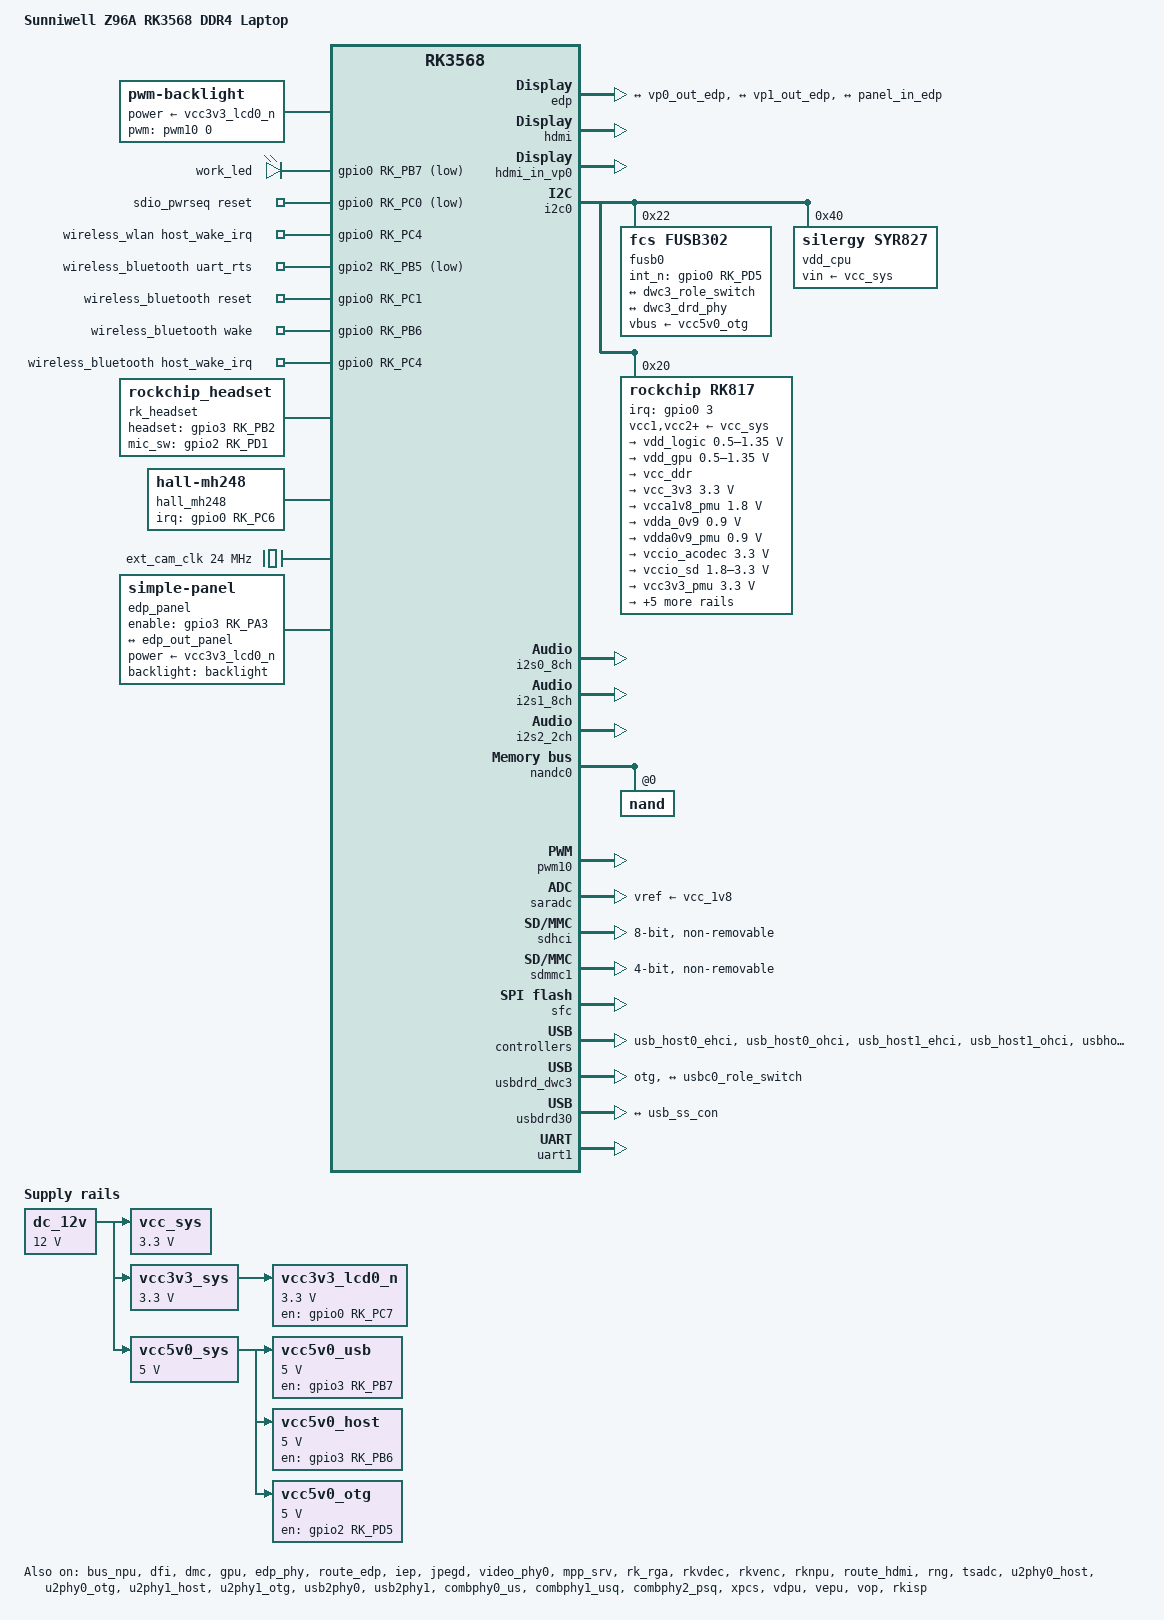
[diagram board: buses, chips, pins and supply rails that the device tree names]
// SPDX-License-Identifier: (GPL-2.0+ OR MIT)
/*
 * Copyright (c) 2024 Rockchip Electronics Co., Ltd.
 *
 */

/dts-v1/;

#include <dt-bindings/gpio/gpio.h>
#include <dt-bindings/pwm/pwm.h>
#include <dt-bindings/pinctrl/rockchip.h>
#include <dt-bindings/input/rk-input.h>
#include <dt-bindings/display/media-bus-format.h>
#include <dt-bindings/display/rockchip_vop.h>
#include <dt-bindings/sensor-dev.h>
#include <dt-bindings/usb/pd.h>
#include "rk3568.dtsi"
//#include "rk3568-linux.dtsi"

/ {
	model = "Sunniwell Z96A RK3568 DDR4 Laptop";
	compatible = "rockchip,rk3568";

	aliases {
		mmc0 = &sdhci;
		mmc1 = &sdmmc0;
		mmc2 = &sdmmc1;
		mmc3 = &sdmmc2;
	};

	fiq-debugger {
		compatible = "rockchip,fiq-debugger";
		rockchip,serial-id = <2>;
		rockchip,wake-irq = <0>;
		/* If enable uart uses irq instead of fiq */
		rockchip,irq-mode-enable = <1>;
		rockchip,baudrate = <1500000>;  /* Only 115200 and 1500000 */
		interrupts = <GIC_SPI 252 IRQ_TYPE_LEVEL_LOW>;
		pinctrl-names = "default";
		pinctrl-0 = <&uart2m0_xfer>;
		status = "okay";
	};
	
	/*from rk3568-linux.dtsi*/
	debug: debug@fd904000 {
		compatible = "rockchip,debug";
		reg = <0x0 0xfd904000 0x0 0x1000>,
			<0x0 0xfd905000 0x0 0x1000>,
			<0x0 0xfd906000 0x0 0x1000>,
			<0x0 0xfd907000 0x0 0x1000>;
	};

	/*from rk3568-linux.dtsi*/
	cspmu: cspmu@fd90c000 {
		compatible = "rockchip,cspmu";
		reg = <0x0 0xfd90c000 0x0 0x1000>,
			<0x0 0xfd90d000 0x0 0x1000>,
			<0x0 0xfd90e000 0x0 0x1000>,
			<0x0 0xfd90f000 0x0 0x1000>;
	};

	audiopwmout_diff: audiopwmout-diff {
		status = "disabled";
		compatible = "simple-audio-card";
		simple-audio-card,format = "i2s";
		simple-audio-card,name = "rockchip,audiopwmout-diff";
		simple-audio-card,mclk-fs = <256>;
		simple-audio-card,bitclock-master = <&master>;
		simple-audio-card,frame-master = <&master>;
		simple-audio-card,cpu {
			sound-dai = <&i2s3_2ch>;
		};
		master: simple-audio-card,codec {
			sound-dai = <&dig_acodec>;
		};
	};

	backlight: backlight {
		compatible = "pwm-backlight";
		pwms = <&pwm10 0 25000 0>;
		brightness-levels = <
			  0  20  20  21  21  22  22  23
			 23  24  24  25  25  26  26  27
			 27  28  28  29  29  30  30  31
			 31  32  32  33  33  34  34  35
			 35  36  36  37  37  38  38  39
			 40  41  42  43  44  45  46  47
			 48  49  50  51  52  53  54  55
			 56  57  58  59  60  61  62  63
			 64  65  66  67  68  69  70  71
			 72  73  74  75  76  77  78  79
			 80  81  82  83  84  85  86  87
			 88  89  90  91  92  93  94  95
			 96  97  98  99 100 101 102 103
			104 105 106 107 108 109 110 111
			112 113 114 115 116 117 118 119
			120 121 122 123 124 125 126 127
			128 129 130 131 132 133 134 135
			136 137 138 139 140 141 142 143
			144 145 146 147 148 149 150 151
			152 153 154 155 156 157 158 159
			160 161 162 163 164 165 166 167
			168 169 170 171 172 173 174 175
			176 177 178 179 180 181 182 183
			184 185 186 187 188 189 190 191
			192 193 194 195 196 197 198 199
			200 201 202 203 204 205 206 207
			208 209 210 211 212 213 214 215
			216 217 218 219 220 221 222 223
			224 225 226 227 228 229 230 231
			232 233 234 235 236 237 238 239
			240 241 242 243 244 245 246 247
			248 249 250 251 252 253 254 255
		>;
		default-brightness-level = <200>;
		power-supply = <&vcc3v3_lcd0_n>;
	};

	charge-animation {
		compatible = "rockchip,uboot-charge";
		rockchip,uboot-charge-on = <1>;
		rockchip,android-charge-on = <0>;
		rockchip,uboot-low-power-voltage = <3350>;
		rockchip,screen-on-voltage = <3400>;
		status = "disabled";
	};

	bt_sco: bt-sco {
		status = "okay";
		compatible = "delta,dfbmcs320";
		#sound-dai-cells = <0>;
	};

	bt_sound: bt-sound {
		status = "okay";
		compatible = "simple-audio-card";
		simple-audio-card,format = "dsp_b";
		simple-audio-card,bitclock-inversion = <1>;
		simple-audio-card,mclk-fs = <256>;
		simple-audio-card,name = "rockchip,bt";
		simple-audio-card,bitclock-master = <&bt_sound>;
		simple-audio-card,frame-master = <&bt_sound>;
		simple-audio-card,cpu {
			sound-dai = <&i2s2_2ch>;
		};
		simple-audio-card,codec {
			sound-dai = <&bt_sco>;
		};
	};

	dc_12v: dc-12v {
		compatible = "regulator-fixed";
		regulator-name = "dc_12v";
		regulator-always-on;
		regulator-boot-on;
		regulator-min-microvolt = <12000000>;
		regulator-max-microvolt = <12000000>;
	};

	vcc_sys: vcc-sys {
		compatible = "regulator-fixed";
		regulator-name = "vcc_sys";
		regulator-always-on;
		regulator-boot-on;
		regulator-min-microvolt = <3300000>;
		regulator-max-microvolt = <3300000>;
		vin-supply = <&dc_12v>;
	};

	hdmi_sound: hdmi-sound {
		compatible = "simple-audio-card";
		simple-audio-card,format = "i2s";
		simple-audio-card,mclk-fs = <128>;
		simple-audio-card,name = "rockchip,hdmi";
		status = "okay";

		simple-audio-card,cpu {
				sound-dai = <&i2s0_8ch>;
		};
		simple-audio-card,codec {
				sound-dai = <&hdmi>;
		};
	};

	leds: leds {
		compatible = "gpio-leds";
		work_led: work {
			gpios = <&gpio0 RK_PB7 GPIO_ACTIVE_LOW>;
		};
	};

	pdmics: dummy-codec {
		status = "disabled";
		compatible = "rockchip,dummy-codec";
		#sound-dai-cells = <0>;
	};

	pdm_mic_array: pdm-mic-array {
		status = "disabled";
		compatible = "simple-audio-card";
		simple-audio-card,name = "rockchip,pdm-mic-array";
		simple-audio-card,cpu {
			sound-dai = <&pdm>;
		};
		simple-audio-card,codec {
			sound-dai = <&pdmics>;
		};
	};

	rk817-sound {
		status = "okay";
		compatible = "simple-audio-card";
		simple-audio-card,format = "i2s";
		simple-audio-card,name = "rockchip,rk817-codec";
		simple-audio-card,mclk-fs = <256>;

		simple-audio-card,cpu {
			sound-dai = <&i2s1_8ch>;
		};
		simple-audio-card,codec {
			sound-dai = <&rk817_codec 1>;
		};
	};

	vcc3v3_sys: vcc3v3-sys {
		compatible = "regulator-fixed";
		regulator-name = "vcc3v3_sys";
		regulator-always-on;
		regulator-boot-on;
		regulator-min-microvolt = <3300000>;
		regulator-max-microvolt = <3300000>;
		vin-supply = <&dc_12v>;
	};

	vcc5v0_sys: vcc5v0-sys {
		compatible = "regulator-fixed";
		regulator-name = "vcc5v0_sys";
		regulator-always-on;
		regulator-boot-on;
		regulator-min-microvolt = <5000000>;
		regulator-max-microvolt = <5000000>;
		vin-supply = <&dc_12v>;
	};

	vcc5v0_usb: vcc5v0-usb {
		compatible = "regulator-fixed";
		regulator-name = "vcc5v0_usb";
		regulator-always-on;
		regulator-boot-on;
		regulator-min-microvolt = <5000000>;
		regulator-max-microvolt = <5000000>;
		enable-active-high;
		gpio = <&gpio3 RK_PB7 GPIO_ACTIVE_HIGH>;
		vin-supply = <&vcc5v0_sys>;
		pinctrl-names = "default";
		pinctrl-0 = <&vcc5v0_otg_pwr_en>;
	};

	vcc5v0_host: vcc5v0-host-regulator {
		compatible = "regulator-fixed";
		regulator-name = "vcc5v0_host";
		regulator-boot-on;
		regulator-always-on;
		regulator-min-microvolt = <5000000>;
		regulator-max-microvolt = <5000000>;
		enable-active-high;
		gpio = <&gpio3 RK_PB6 GPIO_ACTIVE_HIGH>;
		vin-supply = <&vcc5v0_sys>;
		pinctrl-names = "default";
		pinctrl-0 = <&vcc5v0_host_en>;
	};

	vcc5v0_otg: vcc5v0-otg-regulator {
		compatible = "regulator-fixed";
		regulator-name = "vcc5v0_otg";
		regulator-min-microvolt = <5000000>;
		regulator-max-microvolt = <5000000>;
		enable-active-high;
		gpio = <&gpio2 RK_PD5 GPIO_ACTIVE_HIGH>;
		vin-supply = <&vcc5v0_sys>;
		pinctrl-names = "default";
		pinctrl-0 = <&vcc5v0_otg_en>;
	};

	vcc3v3_lcd0_n: vcc3v3-lcd0-n {
		compatible = "regulator-fixed";
		regulator-name = "vcc3v3_lcd0_n";
		regulator-boot-on;
		regulator-min-microvolt = <3300000>;
		regulator-max-microvolt = <3300000>;
		enable-active-high;
		gpio = <&gpio0 RK_PC7 GPIO_ACTIVE_HIGH>;
		vin-supply = <&vcc3v3_sys>;

		regulator-state-mem {
			regulator-off-in-suspend;
		};
	};

	sdio_pwrseq: sdio-pwrseq {
		status = "okay";
		compatible = "mmc-pwrseq-simple";
		clocks = <&rk817 1>;
		clock-names = "ext_clock";
		pinctrl-names = "default";
		pinctrl-0 = <&wifi_enable_h>;
		reset-gpios = <&gpio0 RK_PC0 GPIO_ACTIVE_LOW>;
	};

	wireless_wlan: wireless-wlan {
		compatible = "wlan-platdata";
		rockchip,grf = <&grf>;
		wifi_chip_type = "rtl8821cs";
		status = "okay";
		pinctrl-names = "default";
		pinctrl-0 = <&wifi_host_wake_irq>;
		WIFI,host_wake_irq = <&gpio0 RK_PC4 GPIO_ACTIVE_HIGH>;
	};

	wireless_bluetooth: wireless-bluetooth {
		compatible = "bluetooth-platdata";
		clocks = <&rk817 1>;
		clock-names = "ext_clock";
		uart_rts_gpios = <&gpio2 RK_PB5 GPIO_ACTIVE_LOW>;
		pinctrl-names = "default", "rts_gpio";
		pinctrl-0 = <&uart1m0_rtsn>;
		pinctrl-1 = <&uart1_gpios>;
		BT,reset_gpio = <&gpio0 RK_PC1 GPIO_ACTIVE_HIGH>;
		BT,wake_gpio = <&gpio0 RK_PB6 GPIO_ACTIVE_HIGH>;
		BT,host_wake_irq = <&gpio0 RK_PC4 GPIO_ACTIVE_HIGH>;
		status = "okay";
	};

	test-power {
		status = "okay";
	};

	rk_headset: rk-headset {
		compatible = "rockchip_headset";
		headset_gpio = <&gpio3 RK_PB2 GPIO_ACTIVE_HIGH>;
		mic_sw_gpio = <&gpio2 RK_PD1 GPIO_ACTIVE_HIGH>;
		pinctrl-names = "default";
		pinctrl-0 = <&hp_det>;
	};

	hall_mh248: hall-mh248 {
		compatible = "hall-mh248";
		status = "okay";
		pinctrl-names = "default";
		pinctrl-0 = <&mh_248>;
		irq-gpio = <&gpio0 RK_PC6 IRQ_TYPE_LEVEL_LOW>;
		hall-active = <1>;
	};

	ext_cam_clk: external-camera-clock {
		compatible = "fixed-clock";
		clock-frequency = <24000000>;
		clock-output-names = "CLK_CAMERA_24MHZ";
		#clock-cells = <0>;
	};

	edp_panel: edp-panel {
		compatible = "simple-panel";
		status = "okay";
		power-supply = <&vcc3v3_lcd0_n>;
		backlight = <&backlight>;
		enable-gpios = <&gpio3 RK_PA3 GPIO_ACTIVE_HIGH>;
		bus-format = <MEDIA_BUS_FMT_RGB888_1X24>;
		bpc = <8>;

		width-mm = <309>;
		height-mm = <173>;
		prepare-delay-ms = <20>;
		enable-delay-ms = <20>;

		display-timings {
			native-mode = <&timing0>;

			timing0: timing0 {
				clock-frequency = <141400000>;
				hactive = <1920>;
				vactive = <1080>;

				hfront-porch = <48>;
				hsync-len = <32>;
				hback-porch = <142>;

				vfront-porch = <3>;
				vsync-len = <6>;
				vback-porch = <11>;

				hsync-active = <0>;
				vsync-active = <0>;
				de-active = <0>;
				pixelclk-active = <0>;
			};
		};

		ports {
			#address-cells = <1>;
			#size-cells = <0>;
			port@0 {
				reg = <0>;
				panel_in_edp: endpoint {
					remote-endpoint = <&edp_out_panel>;
					status = "okay";
				};
			};
		};
	};
};

&bus_npu {
	bus-supply = <&vdd_logic>;
	pvtm-supply = <&vdd_cpu>;
	status = "okay";
};

&cpu0 {
	cpu-supply = <&vdd_cpu>;
};

&dfi {
	status = "okay";
};

&dmc {
	center-supply = <&vdd_logic>;
	status = "okay";
};

&gpu {
	mali-supply = <&vdd_gpu>;
	clock-names = "gpu", "bus";
	interrupt-names = "gpu", "mmu", "job";
	status = "okay";
};

&edp {
	force-hpd;
	status = "okay";

	ports {
		edp_in: port@0 {
			reg = <0>;
			#address-cells = <1>;
			#size-cells = <0>;

			edp_in_vp0: endpoint@0 {
				reg = <0>;
				remote-endpoint = <&vp0_out_edp>;
				status = "disabled";
			};

			edp_in_vp1: endpoint@1 {
				reg = <1>;
				remote-endpoint = <&vp1_out_edp>;
				status = "okay";
			};
		};

		edp_out: port@1 {
			reg = <1>;
			#address-cells = <1>;
			#size-cells = <0>;

			edp_out_panel: endpoint@0 {
				remote-endpoint = <&panel_in_edp>;
				status = "okay";
			};
		};
	};
};

&edp_phy {
	status = "okay";
};

&edp_in_vp0 {
	status = "disabled";
};

&edp_in_vp1 {
	status = "okay";
};

&route_edp {
	connect = <&vp1_out_edp>;
	status = "okay";
};

&hdmi {
	status = "okay";
	rockchip,phy-table =
		<92812500  0x8009 0x0000 0x0270>,
		<165000000 0x800b 0x0000 0x026d>,
		<185625000 0x800b 0x0000 0x01ed>,
		<297000000 0x800b 0x0000 0x01ad>,
		<594000000 0x8029 0x0000 0x0088>,
		<000000000 0x0000 0x0000 0x0000>;
};

&hdmi_in_vp0 {
	status = "okay";
};

&hdmi_in_vp1 {
	status = "disabled";
};

&i2c0 {
	status = "okay";

	fusb0: fusb30x@22 {
		compatible = "fcs,fusb302";
		reg = <0x22>;
		pinctrl-names = "default";
		pinctrl-0 = <&fusb0_int>;
		vbus-supply = <&vcc5v0_otg>;
		interrupt-parent = <&gpio0>;
		fcs,int_n = <&gpio0 RK_PD5 IRQ_TYPE_LEVEL_LOW>;
		status = "okay";

		ports {
			#address-cells = <1>;
			#size-cells = <0>;

			port@0 {
				#address-cells = <1>;
				#size-cells = <0>;
				reg = <0>;
				usbc0_role_switch:endpoint@0 {
					reg = <0>;
					remote-endpoint = <&dwc3_role_switch>;
				};
			};
		};

		usb_con: connector {
			compatible = "usb-c-connector";
			label = "USB-C";
			power-role = "dual";
			try-power-role = "sink";
			data-role = "dual";
			pd-revision = <0x200>;
			source-pdos = <PDO_FIXED(5000, 3000, PDO_FIXED_USB_COMM)>;
			sink-pdos = <PDO_FIXED(5000, 3000, PDO_FIXED_USB_COMM)
				     	 PDO_VAR(5000, 5000, 1000)
				     	 PDO_PPS_APDO(5000, 5000, 3000)>;
			op-sink-microwatt = <10000000>;

			ports {
				#address-cells = <1>;
				#size-cells = <0>;

				port@0 {
					reg = <0>;
					usb_ss_con:endpoint {
						remote-endpoint = <&dwc3_drd_phy>;
					};
				};
			};
		};
	};




	vdd_cpu:syr837@40 {
		compatible = "silergy,syr827";
		reg = <0x40>;
		vin-supply = <&vcc_sys>;
		regulator-compatible = "fan53555-reg";
		regulator-name = "vdd_cpu";
		regulator-min-microvolt = <712500>;
		regulator-max-microvolt = <1390000>;
		regulator-ramp-delay = <2300>;
		fcs,suspend-voltage-selector = <1>;
		regulator-always-on;
		regulator-initial-state = <3>;
		regulator-state-mem {
			regulator-off-in-suspend;
		};
	};

	rk817: pmic@20 {
		compatible = "rockchip,rk817";
		reg = <0x20>;
		interrupt-parent = <&gpio0>;
		interrupts = <3 IRQ_TYPE_LEVEL_LOW>;

		pinctrl-names = "default", "pmic-sleep",
				"pmic-power-off", "pmic-reset";
		pinctrl-0 = <&pmic_int>;
		pinctrl-1 = <&soc_slppin_slp>, <&rk817_slppin_slp>;
		pinctrl-2 = <&soc_slppin_gpio>, <&rk817_slppin_pwrdn>;
		pinctrl-3 = <&soc_slppin_gpio>, <&rk817_slppin_rst>;
		rockchip,system-power-controller;
		wakeup-source;
		#clock-cells = <1>;
		clock-output-names = "rk808-clkout1", "rk808-clkout2";
		pmic-reset-func = <0>;
		not-save-power-en = <1>;
		press-on-time = <1>;
		long-press-off-time-sec = <6>;
		long-press-restart = <1>;

		vcc1-supply = <&vcc_sys>;
		vcc2-supply = <&vcc_sys>;
		vcc3-supply = <&vcc_sys>;
		vcc4-supply = <&vcc_sys>;
		vcc5-supply = <&vcc_sys>;
		vcc6-supply = <&vcc_sys>;
		vcc7-supply = <&vcc_sys>;
		vcc8-supply = <&vcc_sys>;
		vcc9-supply = <&vcc_sys>;

		pwrkey {
			status = "disabled";
		};

		pinctrl_rk8xx: pinctrl_rk8xx {
			gpio-controller;
			#gpio-cells = <2>;

			rk817_slppin_null: rk817_slppin_null {
				pins = "gpio_slp";
				function = "pin_fun0";
			};

			rk817_slppin_slp: rk817_slppin_slp {
				pins = "gpio_slp";
				function = "pin_fun1";
			};

			rk817_slppin_pwrdn: rk817_slppin_pwrdn {
				pins = "gpio_slp";
				function = "pin_fun2";
			};

			rk817_slppin_rst: rk817_slppin_rst {
				pins = "gpio_slp";
				function = "pin_fun3";
			};
		};

		regulators {
			vdd_logic: DCDC_REG1 {
				regulator-always-on;
				regulator-boot-on;
				regulator-min-microvolt = <500000>;
				regulator-max-microvolt = <1350000>;
				regulator-init-microvolt = <900000>;
				regulator-ramp-delay = <6001>;
				regulator-initial-mode = <0x2>;
				regulator-name = "vdd_logic";
				regulator-state-mem {
					regulator-off-in-suspend;
					regulator-suspend-microvolt = <900000>;
				};
			};

			vdd_gpu: DCDC_REG2 {
				regulator-always-on;
				regulator-boot-on;
				regulator-min-microvolt = <500000>;
				regulator-max-microvolt = <1350000>;
				regulator-init-microvolt = <850000>;
				regulator-ramp-delay = <6001>;
				regulator-initial-mode = <0x2>;
				regulator-name = "vdd_gpu";
				regulator-state-mem {
					regulator-off-in-suspend;
				};
			};

			vcc_ddr: DCDC_REG3 {
				regulator-always-on;
				regulator-boot-on;
				regulator-initial-mode = <0x2>;
				regulator-name = "vcc_ddr";
				regulator-state-mem {
					regulator-on-in-suspend;
				};
			};

			vcc_3v3: DCDC_REG4 {
				regulator-always-on;
				regulator-boot-on;
				regulator-min-microvolt = <3300000>;
				regulator-max-microvolt = <3300000>;
				regulator-initial-mode = <0x2>;
				regulator-name = "vcc_3v3";
				regulator-state-mem {
					regulator-on-in-suspend;
					regulator-suspend-microvolt = <3300000>;
				};
			};

			vcca1v8_pmu: LDO_REG1 {
				regulator-always-on;
				regulator-boot-on;
				regulator-min-microvolt = <1800000>;
				regulator-max-microvolt = <1800000>;
				regulator-name = "vcca1v8_pmu";
				regulator-state-mem {
					regulator-on-in-suspend;
					regulator-suspend-microvolt = <1800000>;
				};
			};

			vdda_0v9: LDO_REG2 {
				regulator-always-on;
				regulator-boot-on;
				regulator-min-microvolt = <900000>;
				regulator-max-microvolt = <900000>;
				regulator-name = "vdda_0v9";
				regulator-state-mem {
					regulator-off-in-suspend;
				};
			};

			vdda0v9_pmu: LDO_REG3 {
				regulator-always-on;
				regulator-boot-on;
				regulator-min-microvolt = <900000>;
				regulator-max-microvolt = <900000>;
				regulator-name = "vdda0v9_pmu";
				regulator-state-mem {
					regulator-on-in-suspend;
					regulator-suspend-microvolt = <900000>;
				};
			};

			vccio_acodec: LDO_REG4 {
				regulator-always-on;
				regulator-boot-on;
				regulator-min-microvolt = <3300000>;
				regulator-max-microvolt = <3300000>;
				regulator-name = "vccio_acodec";
				regulator-state-mem {
					regulator-off-in-suspend;
				};
			};

			vccio_sd: LDO_REG5 {
				regulator-always-on;
				regulator-boot-on;
				regulator-min-microvolt = <1800000>;
				regulator-max-microvolt = <3300000>;
				regulator-name = "vccio_sd";
				regulator-state-mem {
					regulator-off-in-suspend;
				};
			};

			vcc3v3_pmu: LDO_REG6 {
				regulator-always-on;
				regulator-boot-on;
				regulator-min-microvolt = <3300000>;
				regulator-max-microvolt = <3300000>;
				regulator-name = "vcc3v3_pmu";
				regulator-state-mem {
					regulator-on-in-suspend;
					regulator-suspend-microvolt = <3000000>;
				};
			};

			vcc_1v8: LDO_REG7 {
				regulator-always-on;
				regulator-boot-on;
				regulator-min-microvolt = <1800000>;
				regulator-max-microvolt = <1800000>;
				regulator-name = "vcc_1v8";
				regulator-state-mem {
					regulator-off-in-suspend;
				};
			};

			vcc1v8_dvp: LDO_REG8 {
				regulator-always-on;
				regulator-boot-on;
				regulator-min-microvolt = <1800000>;
				regulator-max-microvolt = <1800000>;
				regulator-name = "vcc1v8_dvp";
				regulator-state-mem {
					regulator-off-in-suspend;
				};
			};

			vcc2v8_dvp: LDO_REG9 {
				regulator-always-on;
				regulator-boot-on;
				regulator-min-microvolt = <1800000>;
				regulator-max-microvolt = <1800000>;
				regulator-name = "vcc2v8_dvp";
				regulator-state-mem {
					regulator-off-in-suspend;
				};
			};

			dcdc_boost: BOOST {
				regulator-always-on;
				regulator-boot-on;
				regulator-min-microvolt = <5000000>;
				regulator-max-microvolt = <5000000>;
				regulator-name = "boost";
				regulator-state-mem {
					regulator-off-in-suspend;
				};
			};

			otg_switch: OTG_SWITCH {
				regulator-name = "otg_switch";
				regulator-state-mem {
					regulator-off-in-suspend;
				};
			};
		};

		charger {
			compatible = "rk817,charger";
			min_input_voltage = <12000>;
			max_input_current = <3000>;
			max_chrg_current = <2000>;
			max_chrg_voltage = <8400>;
			chrg_term_mode = <0>;
			chrg_finish_cur = <300>;
			virtual_power = <0>;
			dc_det_adc = <0>;
			extcon = <&usb2phy0>;
			otg_switch-supply = <&otg_switch>;
			dc_det_gpio = <&gpio3 RK_PC0 GPIO_ACTIVE_LOW>;
			//charger-done-gpios = <&gpio3 RK_PC4 GPIO_ACTIVE_HIGH>;
			pinctrl-0 = <&dc_det_gpio_pin>;
			gate_function_disable = <1>;
		};

		battery {
			compatible = "rk817,battery";
			ocv_table = <6600 6840 6922 7000 7064 7122 7162
					7190 7218 7250 7292 7364 7448 7532
					7618 7714 7812 7918 8030 8158 8362>;
			design_capacity = <5125>;
			design_qmax = <5500>;
			bat_res = <150>;
			sleep_enter_current = <300>;
			sleep_exit_current = <300>;
			sleep_filter_current = <100>;
			//power_off_thresd = <6600>;
			power_off_thresd = <3500>;
			zero_algorithm_vol = <7700>;
			max_soc_offset = <60>;
			monitor_sec = <5>;
			sample_res = <10>;
			// Permit boot without battery
			virtual_power = <0>;

			bat_res_up = <110>;
			bat_res_down = <27>;
			bat_res_up_old = <232>;
			bat_res_down_old = <50>;
			design_max_voltage = <8350>;
			//charging-gpios = <&gpio3 RK_PC0 GPIO_ACTIVE_HIGH>;
			//charger-done-gpios = <&gpio3 RK_PC4 GPIO_ACTIVE_HIGH>;
			io-channels = <&saradc 1>;
			io-channel-names = "battery-voltage";
			adc_vol_ratio = <4900>;
			adc_ref_vol = <1800>;
			adc_res = <1024>;
		};

		rk817_codec: codec {
			#sound-dai-cells = <1>;
			compatible = "rockchip,rk809-codec", "rockchip,rk817-codec";
			clocks = <&cru I2S1_MCLKOUT>;
			clock-names = "mclk";
			assigned-clocks = <&cru I2S1_MCLKOUT>, <&cru I2S1_MCLK_TX_IOE>;
			assigned-clock-rates = <12288000>;
			assigned-clock-parents = <&cru I2S1_MCLKOUT_TX>, <&cru I2S1_MCLKOUT_TX>;
			pinctrl-names = "default";
			pinctrl-0 = <&i2s1m0_mclk>;
			hp-volume = <3>;
			spk-volume = <10>;
			capture-volume = <48>;
			use-ext-amplifier;
			mic-in-differential;
			spk-ctl-gpios = <&gpio3 RK_PA6 GPIO_ACTIVE_HIGH>;
			spk-use-hp-channel;
			spk-use-aw8737s;
			status = "okay";
		};
	};
};

&i2s0_8ch {
	status = "okay";
};

&i2s1_8ch {
	status = "okay";
	rockchip,clk-trcm = <1>;
	pinctrl-names = "default";
	pinctrl-0 = <&i2s1m0_sclktx
		     &i2s1m0_lrcktx
		     &i2s1m0_sdi0
		     &i2s1m0_sdo0>;
};

&i2s2_2ch {
	status = "okay";
	rockchip,bclk-fs = <&combphy0_us>;
};

&i2s3_2ch {
	status = "disabled";
};

&iep {
	status = "okay";
};

&iep_mmu {
	status = "okay";
};

&jpegd {
	status = "okay";
};

&jpegd_mmu {
	status = "okay";
};

&video_phy0 {
	status = "okay";
};

&mpp_srv {
	status = "okay";
};

&nandc0 {
	#address-cells = <1>;
	#size-cells = <0>;
	status = "okay";

	nand@0 {
		reg = <0>;
		nand-bus-width = <8>;
		nand-ecc-mode = "hw";
		nand-ecc-strength = <16>;
		nand-ecc-step-size = <1024>;
	};
};

&pwm10 {
	status = "okay";
};

&reserved_memory {
	/*from rk3568-linux.dtsi*/
	ramoops: ramoops@110000 {
		compatible = "ramoops";
		reg = <0x0 0x110000 0x0 0xf0000>;
		record-size = <0x20000>;
		console-size = <0x80000>;
		ftrace-size = <0x00000>;
		pmsg-size = <0x50000>;
	};

	drm_logo: drm-logo@00000000 {
		compatible = "rockchip,drm-logo";
		reg = <0x0 0xedf00000 0x0 0xa8e000>;
	};
	drm_cubic_lut: drm-cubic-lut@00000000 {
		compatible = "rockchip,drm-cubic-lut";
		reg = <0x0 0xeff00000 0x0 0x8000>;
	};
	rknpu_reserved: rknpu {
		compatible = "shared-dma-pool";
		inactive;
		reusable;
		size = <0x0 0x08000000>;
		alignment = <0x0 0x1000>;
	};
};

&rk_rga {
	status = "okay";
};

&rkvdec {
	status = "okay";
};

&rkvdec_mmu {
	status = "okay";
};

&rkvenc {
	venc-supply = <&vdd_logic>;
	status = "okay";
};

&rkvenc_mmu {
	status = "okay";
};

&rknpu {
	memory-region = <&rknpu_reserved>;
	rknpu-supply = <&vdd_gpu>;
	status = "okay";
};

&rknpu_mmu {
	status = "okay";
};

&route_hdmi {
	status = "okay";
	connect = <&vp0_out_hdmi>;
};

&rng {
	status = "okay";
};

&rockchip_suspend {
	status = "okay";
	rockchip,sleep-mode-config = <
		(0
		| RKPM_SLP_CENTER_OFF
		| RKPM_SLP_HW_PLLS_OFF
		| RKPM_SLP_PMUALIVE_32K
		| RKPM_SLP_PMIC_LP
		| RKPM_SLP_32K_PVTM
		)
	>;
	rockchip,wakeup-config = <
		(0
		| RKPM_PWM0_WKUP_EN
		| RKPM_CPU0_WKUP_EN
		)
	>;
};

&saradc {
	status = "okay";
	vref-supply = <&vcc_1v8>;
};

&sdhci {
	bus-width = <8>;
	supports-emmc;
	non-removable;
	max-frequency = <200000000>;
	status = "okay";
};

&sdmmc0 {
	status = "disabled";
	max-frequency = <150000000>;
	supports-sd;
	bus-width = <4>;
	cap-mmc-highspeed;
	cap-sd-highspeed;
	disable-wp;
	sd-uhs-sdr104;
	vmmc-supply = <&vcc_3v3>;
	vqmmc-supply = <&vccio_sd>;
	pinctrl-names = "default";
	pinctrl-0 = <&sdmmc0_bus4 &sdmmc0_clk &sdmmc0_cmd &sdmmc0_det>;
};

&sdmmc1 {
	status = "okay";
	max-frequency = <200000000>;
	supports-sdio;
	bus-width = <4>;
	disable-wp;
	cap-sd-highspeed;
	cap-mmc-highspeed;
	cap-sdio-irq;
	keep-power-in-suspend;
	mmc-pwrseq = <&sdio_pwrseq>;
	non-removable;
	pinctrl-names = "default";
	pinctrl-0 = <&sdmmc1_bus4 &sdmmc1_cmd &sdmmc1_clk>;
	sd-uhs-sdr104;
};

&sfc {
	status = "okay";
};

&tsadc {
	status = "okay";
};

&u2phy0_host {
	phy-supply = <&vcc5v0_usb>;
	status = "okay";
};

&u2phy0_otg {
	status = "okay";
};

&u2phy1_host {
	phy-supply = <&vcc5v0_host>;
	status = "okay";
};

&u2phy1_otg {
	phy-supply = <&vcc5v0_host>;
	status = "okay";
};

&usb2phy0 {
	status = "okay";
};

&usb2phy1 {
	status = "okay";
};

&usb_host0_ehci {
	status = "okay";
};

&usb_host0_ohci {
	status = "okay";
};

&usb_host1_ehci {
	status = "okay";
};

&usb_host1_ohci {
	status = "okay";
};

&usbdrd_dwc3 {
	status = "okay";
	usb-role-switch;
	dr_mode = "otg";
	port {
		#address-cells = <1>;
		#size-cells = <0>;
		dwc3_role_switch:endpoint@0 {
			reg = <0>;
			remote-endpoint = <&usbc0_role_switch>;
		};
	};
};

&usbdrd30 {
	status = "okay";
	port {
		#address-cells = <1>;
		#size-cells = <0>;
		dwc3_drd_phy:endpoint@0 {
			reg = <0>;
			remote-endpoint = <&usb_ss_con>;
		};
	};
};

&usbhost_dwc3 {
	status = "okay";
};

&usbhost30 {
	status = "okay";
};

&combphy0_us {
	status = "okay";
};

&combphy1_usq {
	status = "okay";
};

&combphy2_psq {
	status = "okay";
};

&xpcs {
	status = "okay";
};

&vad {
	rockchip,audio-src = <&i2s1_8ch>;
	rockchip,buffer-time-ms = <128>;
	rockchip,det-channel = <0>;
	rockchip,mode = <0>;
};

&vdpu {
	status = "okay";
};

&vdpu_mmu {
	status = "okay";
};

&vepu {
	status = "okay";
};

&vepu_mmu {
	status = "okay";
};

&vop {
	status = "okay";
	
	/*from rk3568-linux.dtsi*/
	disable-win-move;
	
	assigned-clocks = <&cru DCLK_VOP0>, <&cru DCLK_VOP1>;
	assigned-clock-parents = <&pmucru PLL_HPLL>, <&cru PLL_VPLL>;
};

&vop_mmu {
	status = "okay";
};

&vp0 {
	rockchip,plane-mask = <(1 << ROCKCHIP_VOP2_CLUSTER1 | 1 << ROCKCHIP_VOP2_ESMART1 | 1 << ROCKCHIP_VOP2_SMART1)>;
	rockchip,primary-plane = <ROCKCHIP_VOP2_ESMART1>;
};

&vp1 {
	rockchip,plane-mask = <(1 << ROCKCHIP_VOP2_CLUSTER0 | 1 << ROCKCHIP_VOP2_ESMART0 | 1 << ROCKCHIP_VOP2_SMART0)>;
	rockchip,primary-plane = <ROCKCHIP_VOP2_ESMART0>;
};

&vp2 {
	rockchip,plane-mask = <0x00000000>;
	rockchip,primary-plane = <0x00000000>;
};

&pcie30phy {
	status = "disabled";
};

&rkisp {
	status = "okay";
};

&rkisp_mmu {
	status = "okay";
};

&uart1 {
	status = "okay";
	pinctrl-names = "default";
	pinctrl-0 = <&uart1m0_xfer &uart1m0_ctsn>;
};

/*
&mdio1 {
	rgmii_phy0: phy@0 {
		compatible = "ethernet-phy-id001c.c942", "ethernet-phy-ieee802.3-c22";
		reg = <0>;
	};
	rgmii_phy1: phy@1 {
		compatible = "ethernet-phy-id001c.c942", "ethernet-phy-ieee802.3-c22";
		reg = <1>;
	};
	rgmii_phy2: phy@2 {
		compatible = "ethernet-phy-id001c.c942", "ethernet-phy-ieee802.3-c22";
		reg = <2>;
	};
	rgmii_phy3: phy@3 {
		compatible = "ethernet-phy-id001c.c942", "ethernet-phy-ieee802.3-c22";
		reg = <3>;
	};
};
*/

&pinctrl {

	headphone {
		hp_det: hp-det {
			rockchip,pins = <3 RK_PB2 RK_FUNC_GPIO &pcfg_pull_up>;
		};
	};

	pmic {
		pmic_int: pmic_int {
			rockchip,pins =
				<0 RK_PA3 RK_FUNC_GPIO &pcfg_pull_up>;
		};

		soc_slppin_gpio: soc_slppin_gpio {
			rockchip,pins =
				<0 RK_PA2 RK_FUNC_GPIO &pcfg_output_low_pull_down>;
		};

		soc_slppin_slp: soc_slppin_slp {
			rockchip,pins =
				<0 RK_PA2 1 &pcfg_pull_up>;
		};

		soc_slppin_rst: soc_slppin_rst {
			rockchip,pins =
				<0 RK_PA2 2 &pcfg_pull_none>;
		};
	};

	sdio-pwrseq {
		wifi_enable_h: wifi-enable-h {
			rockchip,pins =
				<0 RK_PC1 RK_FUNC_GPIO &pcfg_pull_none>,
				<0 RK_PC5 RK_FUNC_GPIO &pcfg_output_high>;
		};
	};

	usb {
		vcc5v0_host_en: vcc5v0-host-en {
			rockchip,pins = <3 RK_PB6 RK_FUNC_GPIO &pcfg_pull_none>;
		};

		vcc5v0_otg_pwr_en: vcc5v0-otg-pwr-en {
			rockchip,pins = <3 RK_PB7 RK_FUNC_GPIO &pcfg_pull_none>;
		};

		vcc5v0_otg_en: vcc5v0-otg-en {
			rockchip,pins = <2 RK_PD5 RK_FUNC_GPIO &pcfg_pull_none>;
		};
	};

	wireless-wlan {
		wifi_host_wake_irq: wifi-host-wake-irq {
			rockchip,pins = <0 RK_PC4 RK_FUNC_GPIO &pcfg_pull_down>;
		};
	};

	wireless-bluetooth {
		uart8_gpios: uart8-gpios {
			rockchip,pins = <2 RK_PB1 RK_FUNC_GPIO &pcfg_pull_none>;
		};

		uart1_gpios: uart1-gpios {
			rockchip,pins = <2 RK_PB5 RK_FUNC_GPIO &pcfg_pull_none>;
		};
	};

	fusb30x {
		fusb0_int: fusb0-int {
			rockchip,pins = <0 RK_PD5 RK_FUNC_GPIO &pcfg_pull_up>;
		};
	};

	power_dc: power-dc {
		dc_det_gpio_pin: dc-det-gpio-pin {
			rockchip,pins = <3 RK_PA5 RK_FUNC_GPIO &pcfg_pull_up>;
		};
	};

	hallsensor {
		mh_248: mh-248 {
			rockchip,pins = <0 RK_PC6 RK_FUNC_GPIO &pcfg_pull_up>;
		};
	};
};

&pmu_io_domains {
	status = "okay";
	pmuio1-supply = <&vcc3v3_pmu>;
	pmuio2-supply = <&vcca1v8_pmu>;
	vccio1-supply = <&vccio_acodec>;
	vccio3-supply = <&vccio_sd>;
	vccio4-supply = <&vcca1v8_pmu>;
	vccio5-supply = <&vcc_3v3>;
	vccio6-supply = <&vcc1v8_dvp>;
	vccio7-supply = <&vcc_3v3>;
};


